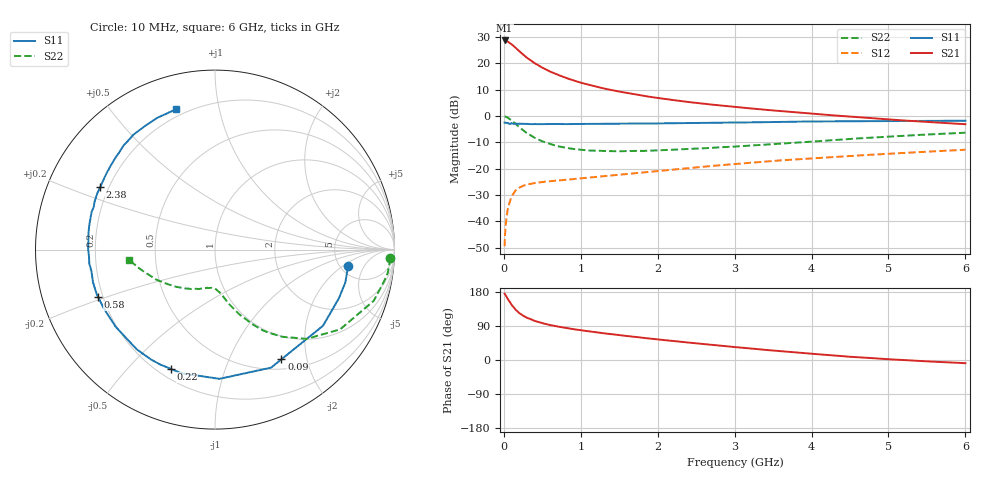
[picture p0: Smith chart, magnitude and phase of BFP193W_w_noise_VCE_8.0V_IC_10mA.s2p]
! Infineon Technologies  Discrete & RF Semiconductors
! BFP193W
! VCE = 8.0 V,  IC =  10 mA
! Common Emitter S-Parameters:  Jan 2016
# GHz  S  MA  R  50
!  f  S11  S21  S12  S22
! GHz  MAG  ANG  MAG  ANG  MAG  ANG  MAG  ANG
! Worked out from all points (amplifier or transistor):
!   210 points, 10 MHz to 6 GHz, reference 50 ohm
!   highest |S21| = 28.6 dB at 10 MHz (marker M1)
!   |S21| within 3 dB of that: start of sweep to 161.3 MHz
!   unconditionally stable (mu >= 1): 1.381 GHz to 4.612 GHz
!   at 185 MHz: K = 0.21, MSG = 26.2 dB, |S12| = -27.5 dB
!   at 1.52 GHz: K = 1.04, MAG = 14.4 dB, |S12| = -22.2 dB
!   at 6 GHz: K = 0.92, MSG = 4.8 dB, |S12| = -12.8 dB
!   lowest NFmin = 1.30 dB at 450 MHz
!   S11 on the Smith chart (normalised r, x): 10 MHz: 5.92, -2.41; 90 MHz: 0.64, -1.59; 220 MHz: 0.25, -0.67; 580 MHz: 0.18, -0.19; 2.38 GHz: 0.17, +0.25; 6 GHz: 0.16, +0.75
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0.01  0.7478 -6.9  26.92 175.1  0.0034 87.8  0.978 -2.8
0.03  0.7417 -21.4  26.62 168.6  0.0103 80.3  0.9572 -10.9
0.05  0.7364 -35.2  25.85 161.3  0.0167 74.4  0.9291 -17.9
0.09  0.7145 -58.8  23.37 149.0  0.0269 61.8  0.8426 -29.3
0.1  0.7281 -64.6  22.94 145.6  0.0296 60.0  0.8268 -32.5
0.15  0.7204 -88.0  19.75 133.0  0.0383 50.5  0.7132 -44.2
0.2  0.714 -105.3  16.85 123.8  0.0437 44.2  0.6139 -52.3
0.22  0.7087 -110.4  15.91 121.3  0.0451 42.2  0.5823 -54.6
0.26  0.7087 -120.1  14.17 115.9  0.0479 38.8  0.5236 -59.3
0.3  0.7063 -128.1  12.65 111.4  0.0499 36.7  0.4711 -62.9
0.4  0.7008 -142.1  9.991 103.1  0.0535 33.1  0.3856 -69.4
0.5  0.7007 -152.1  8.211 97.0  0.0559 31.9  0.3299 -74.0
0.58  0.7026 -157.8  7.187 93.3  0.0574 31.7  0.3 -76.7
0.8  0.6989 -169.7  5.29 84.7  0.0614 32.5  0.2495 -82.1
1.02  0.7037 -177.6  4.187 78.1  0.0658 34.7  0.2267 -87.1
1.4  0.7114 171.8  3.089 68.1  0.0744 38.6  0.215 -94.1
2.02  0.7224 158.0  2.17 53.9  0.0911 42.9  0.2239 -105.0
2.38  0.7281 151.5  1.851 46.4  0.102 44.2  0.2362 -111.8
3.1  0.7504 139.0  1.434 32.4  0.1258 44.5  0.2678 -125.9
4.1  0.7859 124.1  1.074 14.9  0.1606 41.9  0.3334 -145.7
5.1  0.8016 113.0  0.838 1.0  0.1954 37.7  0.4132 -162.5
6  0.8116 105.5  0.696 -8.5  0.2287 33.5  0.4805 -173.3
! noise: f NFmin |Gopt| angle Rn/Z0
0.45  1.3  0.22  143  0.11
0.9  1.3  0.34  160  0.11
1.8  2.05  0.54  -153  0.14
